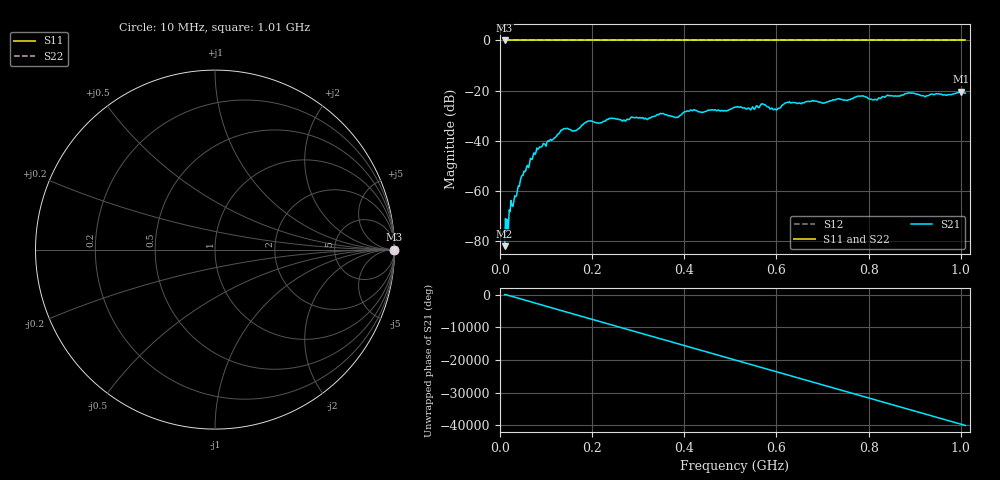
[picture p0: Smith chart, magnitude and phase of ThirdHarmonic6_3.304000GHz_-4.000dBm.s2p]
! 8/17/2025 10:18:28 AM
! C:\ANRITSUVNA\TEMP\TEMP.S2P
! CHANNEL.1
! TR.MEASUREMENT
! RAW.DATA
! RF.CORRECTION.OFF
! AVERAGING.OFF
! IF.BANDWIDTH: 5KHZ
! SWEEPTYPE:  FREQ.SWEEP(Linear)
! Reference Plane Port Info
! PORT:  PORT1  PORT2
! DISTANCE:  0  m  0  m
! TIME:  0  s  0  s
! PHASE.OFFSET:  0  deg.  0  deg.
! LOSS:  0  dB  0  dB
! REF.LOSS:  0  dB  0  dB
! REF.FREQ:  0  Hz  0  Hz
! Power Info
! POWER:  -20  dBm  -20  dBm
! EFF.POWER:  -20  dBm  -20  dBm
! SOURCE.ATTEN:  0  dB  0  dB
! TEST.ATTEN:  0  dB  0  dB
# GHZ S RI R 50.0
! FREQ.GHZ  S11RE  S11IM  S21RE  S21IM  S12RE  S12IM  S22RE  S22IM
!; PortSelection: Port_12
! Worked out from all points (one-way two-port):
!   501 points, 10 MHz to 1.01 GHz, reference 50 ohm
!   highest |S21| = -20.45 dB at 1 GHz (marker M1); lowest = -82.2 dB at 10 MHz (marker M2)
!   lowest |S11| = 0.0 dB at 10 MHz (marker M3)
!   |S11| at or under -10 dB: nowhere
!   |S22| runs from 0.0 to 0.0 dB; largest |S21 - S12| = 1.1
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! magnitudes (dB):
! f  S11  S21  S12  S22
! 10 MHz  0.0  -82.2  0.0  0.0
! 24 MHz  0.0  -63.9  0.0  0.0
! 48 MHz  0.0  -53.9  0.0  0.0
! 76 MHz  0.0  -45.5  0.0  0.0
! 136 MHz  0.0  -35.7  0.0  0.0
! 162 MHz  0.0  -36.1  0.0  0.0
! 178 MHz  0.0  -33.8  0.0  0.0
! 194 MHz  0.0  -32.2  0.0  0.0
! 322 MHz  0.0  -31.2  0.0  0.0
! 344 MHz  0.0  -29.7  0.0  0.0
! 382 MHz  0.0  -30.8  0.0  0.0
! 418 MHz  0.0  -28.1  0.0  0.0
! 510 MHz  0.0  -26.6  0.0  0.0
! 570 MHz  0.0  -25.4  0.0  0.0
! 598 MHz  0.0  -27.5  0.0  0.0
! 624 MHz  0.0  -24.7  0.0  0.0
! 678 MHz  0.0  -24.0  0.0  0.0
! 784 MHz  0.0  -22.2  0.0  0.0
! 814 MHz  0.0  -23.5  0.0  0.0
! 844 MHz  0.0  -22.1  0.0  0.0
! 1 GHz  0.0  -20.4  0.0  0.0
! 1.01 GHz  0.0  -21.1  0.0  0.0
